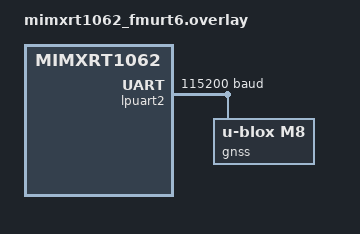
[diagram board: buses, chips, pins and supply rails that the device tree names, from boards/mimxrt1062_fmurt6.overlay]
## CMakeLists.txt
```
# Copyright (c) 2023 Trackunit Corporation
# SPDX-License-Identifier: Apache-2.0

cmake_minimum_required(VERSION 3.28.0)
find_package(Zephyr REQUIRED HINTS $ENV{ZEPHYR_BASE})
project(gnss_sample)

target_sources(app PRIVATE src/main.c)
```

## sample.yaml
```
# Copyright (c) 2023 Trackunit Corporation
# SPDX-License-Identifier: Apache-2.0

sample:
  name: GNSS sample
tests:
  sample.drivers.gnss:
    tags:
      - drivers
      - gnss
    filter: dt_alias_exists("gnss")
    integration_platforms:
      - mimxrt1062_fmurt6
```

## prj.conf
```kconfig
# Copyright (c) 2023 Trackunit Corporation
# SPDX-License-Identifier: Apache-2.0

CONFIG_GNSS=y
CONFIG_GNSS_SATELLITES=y

CONFIG_LOG=y
CONFIG_LOG_BUFFER_SIZE=8192
CONFIG_GNSS_DUMP_TO_LOG=y
CONFIG_GNSS_DUMP_TO_LOG_BUF_SIZE=1024
CONFIG_GNSS_LOG_LEVEL_DBG=y
CONFIG_MODEM_MODULES_LOG_LEVEL_DBG=y
```

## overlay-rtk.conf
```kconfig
# Copyright (c) 2025 Croxel Inc.
# Copyright (c) 2025 CogniPilot Foundation
# SPDX-License-Identifier: Apache-2.0

CONFIG_GNSS_RTK=y
CONFIG_GNSS_RTK_SERIAL=y
```

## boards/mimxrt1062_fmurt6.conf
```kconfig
# Copyright 2024 NXP
# SPDX-License-Identifier: Apache-2.0

CONFIG_UART_INTERRUPT_DRIVEN=y
```

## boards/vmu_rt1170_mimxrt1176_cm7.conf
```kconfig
# Copyright (c) 2025 Croxel Inc.
# Copyright (c) 2025 CogniPilot Foundation
# SPDX-License-Identifier: Apache-2.0

CONFIG_SHELL=n
CONFIG_SERIAL=y
CONFIG_UART_INTERRUPT_DRIVEN=y
```

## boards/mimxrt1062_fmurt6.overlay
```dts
/*
 * Copyright 2024 NXP
 *
 * SPDX-License-Identifier: Apache-2.0
 */

/ {
	aliases {
		gnss = &gnss;
	};
};

&lpuart2 {
	current-speed = <115200>;
	pinctrl-0 = <&pinmux_lpuart2>;
	pinctrl-1 = <&pinmux_lpuart2_sleep>;
	pinctrl-names = "default", "sleep";
	status = "okay";

	gnss: u_blox_m10 {
		compatible = "u-blox,m8";
		initial-baudrate = <115200>;
		status = "okay";
	};
};
```

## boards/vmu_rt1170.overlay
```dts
/*
 * Copyright 2024 NXP
 *
 * SPDX-License-Identifier: Apache-2.0
 */

/ {
	aliases {
		gnss = &lpuart3;
	};
};

&lpuart3 {
	status = "okay";
	current-speed = <115200>;

	u_blox_m8: u-blox,m8 {
		status = "okay";
		compatible = "u-blox,m8";
		uart-baudrate = <115200>;
	};
};
```

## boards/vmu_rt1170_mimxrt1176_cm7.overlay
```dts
/*
 * Copyright 2024, 2026 NXP
 *
 * SPDX-License-Identifier: Apache-2.0
 */

/ {
	aliases {
		gnss = &gnss;
	};

	chosen {
		zephyr,rtk-serial = &lpuart1;
	};
};

&lpuart5 {
	status = "okay";
	current-speed = <38400>;

	gnss: gnss {
		status = "okay";
		compatible = "u-blox,f9p";
		fix-rate = <100>;
		initial-baudrate = <38400>;
	};
};
```

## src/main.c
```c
/*
 * Copyright (c) 2023 Trackunit Corporation
 *
 * SPDX-License-Identifier: Apache-2.0
 */

#include <stdio.h>
#include <zephyr/device.h>
#include <zephyr/drivers/gnss.h>
#include <zephyr/logging/log.h>

#define GNSS_MODEM DEVICE_DT_GET(DT_ALIAS(gnss))

static void gnss_data_cb(const struct device *dev, const struct gnss_data *data)
{
	uint64_t timepulse_ns;
	k_ticks_t timepulse;

	if (data->info.fix_status != GNSS_FIX_STATUS_NO_FIX) {
		if (gnss_get_latest_timepulse(dev, &timepulse) == 0) {
			timepulse_ns = k_ticks_to_ns_near64(timepulse);
			printf("Got a fix (type: %d) @ %lld ns\n", data->info.fix_status,
			       timepulse_ns);
		} else {
			printf("Got a fix (type: %d)\n", data->info.fix_status);
		}
	}
}
GNSS_DATA_CALLBACK_DEFINE(GNSS_MODEM, gnss_data_cb);

#if CONFIG_GNSS_SATELLITES
static void gnss_satellites_cb(const struct device *dev, const struct gnss_satellite *satellites,
			       uint16_t size)
{
	unsigned int tracked_count = 0;
	unsigned int corrected_count = 0;

	for (unsigned int i = 0; i != size; ++i) {
		tracked_count += satellites[i].is_tracked;
		corrected_count += satellites[i].is_corrected;
	}
	printf("%u satellite%s reported (of which %u tracked, of which %u has RTK corrections)!\n",
	       size, size > 1 ? "s" : "", tracked_count, corrected_count);
}
#endif
GNSS_SATELLITES_CALLBACK_DEFINE(GNSS_MODEM, gnss_satellites_cb);

#define GNSS_SYSTEMS_PRINTF(define, supported, enabled)                                            \
	printf("\t%20s: Supported: %3s Enabled: %3s\n",                                            \
	       STRINGIFY(define), (supported & define) ? "Yes" : "No",                             \
			 (enabled & define) ? "Yes" : "No");

int main(void)
{
	gnss_systems_t supported, enabled;
	uint32_t fix_interval;
	int rc;

	rc = gnss_get_supported_systems(GNSS_MODEM, &supported);
	if (rc < 0) {
		printf("Failed to query supported systems (%d)\n", rc);
		return rc;
	}
	rc = gnss_get_enabled_systems(GNSS_MODEM, &enabled);
	if (rc < 0) {
		printf("Failed to query enabled systems (%d)\n", rc);
		return rc;
	}
	printf("GNSS Systems:\n");
	GNSS_SYSTEMS_PRINTF(GNSS_SYSTEM_GPS, supported, enabled);
	GNSS_SYSTEMS_PRINTF(GNSS_SYSTEM_GLONASS, supported, enabled);
	GNSS_SYSTEMS_PRINTF(GNSS_SYSTEM_GALILEO, supported, enabled);
	GNSS_SYSTEMS_PRINTF(GNSS_SYSTEM_BEIDOU, supported, enabled);
	GNSS_SYSTEMS_PRINTF(GNSS_SYSTEM_QZSS, supported, enabled);
	GNSS_SYSTEMS_PRINTF(GNSS_SYSTEM_IRNSS, supported, enabled);
	GNSS_SYSTEMS_PRINTF(GNSS_SYSTEM_SBAS, supported, enabled);
	GNSS_SYSTEMS_PRINTF(GNSS_SYSTEM_IMES, supported, enabled);

	rc = gnss_get_fix_rate(GNSS_MODEM, &fix_interval);
	if (rc < 0) {
		printf("Failed to query fix rate (%d)\n", rc);
		return rc;
	}
	printf("Fix rate = %d ms\n", fix_interval);

	return 0;
}
```
